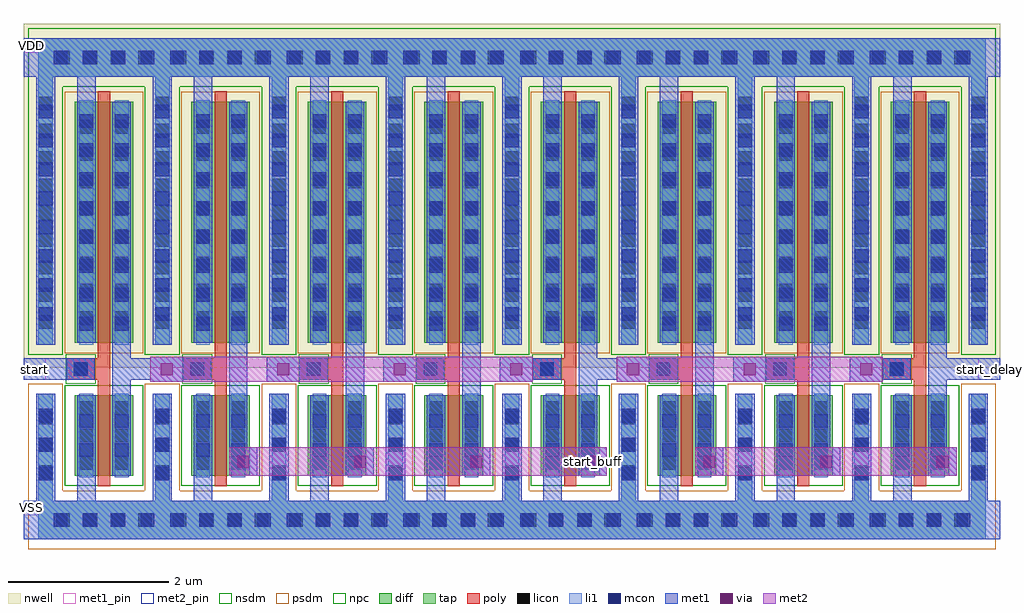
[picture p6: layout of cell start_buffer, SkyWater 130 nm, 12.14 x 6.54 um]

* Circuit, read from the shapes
.subckt start_buffer VDD VSS start start_buff start_delay
XM1 n1 start VSS VSS sky130_fd_pr__nfet_01v8 w=1 l=0.15
XM2 start_buff n1 VSS VSS sky130_fd_pr__nfet_01v8 w=1 l=0.15 m=4
XM3 start_delay start_buff VSS VSS sky130_fd_pr__nfet_01v8 w=1 l=0.15 m=3
XM4 n1 start VDD VDD sky130_fd_pr__pfet_01v8 w=3 l=0.15
XM5 start_buff n1 VDD VDD sky130_fd_pr__pfet_01v8 w=3 l=0.15 m=4
XM6 start_delay start_buff VDD VDD sky130_fd_pr__pfet_01v8 w=3 l=0.15 m=3
.ends

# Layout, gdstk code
import gdstk
lib = gdstk.Library(unit=1e-6, precision=1e-09)
def R(c, l, rs):  # rectangles x0, y0, x1, y1
    for r in rs: c.add(gdstk.rectangle(r[:2], r[2:], *l))
def A(c, l, x, y, w, h, nx, ny, dx, dy):  # array of equal rectangles
    R(c, l, [(x+i*dx, y+j*dy, x+i*dx+w, y+j*dy+h) for i in range(nx) for j in range(ny)])
nwell = (64, 20)
diff = (65, 20)
tap = (65, 44)
poly = (66, 20)
licon = (66, 44)
li1 = (67, 20)
mcon = (67, 44)
met1_pin = (68, 16)
met1 = (68, 20)
via = (68, 44)
met2_pin = (69, 16)
met2 = (69, 20)
nsdm = (93, 44)
psdm = (94, 20)
npc = (95, 20)

sky130_fd_pr__pfet_01v8_ = lib.new_cell('sky130_fd_pr__pfet_01v8_2K9SAN')
R(sky130_fd_pr__pfet_01v8_, nwell, [(-0.545,-1.81,0.545,1.81)])
R(sky130_fd_pr__pfet_01v8_, diff, [(-0.365,-1.5,0.365,1.5)])
R(sky130_fd_pr__pfet_01v8_, poly, [(-0.075,-1.63,0.075,1.63)])
A(sky130_fd_pr__pfet_01v8_, licon, -0.305, -1.275, 0.17, 0.17, 1, 8, 0, 0.34)
A(sky130_fd_pr__pfet_01v8_, licon, 0.135, -1.275, 0.17, 0.17, 1, 8, 0, 0.34)
R(sky130_fd_pr__pfet_01v8_, li1, [(-0.305,-1.52,-0.135,1.52), (0.135,-1.52,0.305,1.52)])
A(sky130_fd_pr__pfet_01v8_, mcon, -0.305, -1.345, 0.17, 0.17, 1, 8, 0, 0.36)
A(sky130_fd_pr__pfet_01v8_, mcon, 0.135, -1.345, 0.17, 0.17, 1, 8, 0, 0.36)
R(sky130_fd_pr__pfet_01v8_, met1, [(-0.335,-1.5,-0.105,1.5), (0.105,-1.5,0.335,1.5)])
R(sky130_fd_pr__pfet_01v8_, psdm, [(-0.49,-1.625,0.49,1.625)])

sky130_fd_pr__nfet_01v8_ = lib.new_cell('sky130_fd_pr__nfet_01v8_6H9P4D')
R(sky130_fd_pr__nfet_01v8_, diff, [(-0.365,-0.5,0.365,0.5)])
R(sky130_fd_pr__nfet_01v8_, poly, [(-0.075,-0.63,0.075,0.63)])
A(sky130_fd_pr__nfet_01v8_, licon, -0.305, -0.425, 0.17, 0.17, 1, 3, 0, 0.34)
A(sky130_fd_pr__nfet_01v8_, licon, 0.135, -0.425, 0.17, 0.17, 1, 3, 0, 0.34)
R(sky130_fd_pr__nfet_01v8_, li1, [(-0.305,-0.52,-0.135,0.52), (0.135,-0.52,0.305,0.52)])
R(sky130_fd_pr__nfet_01v8_, mcon, [(-0.305,-0.265,-0.135,-0.095), (0.135,-0.265,0.305,-0.095), (-0.305,0.095,-0.135,0.265), (0.135,0.095,0.305,0.265)])
R(sky130_fd_pr__nfet_01v8_, met1, [(-0.335,-0.5,-0.105,0.5), (0.105,-0.5,0.335,0.5)])
R(sky130_fd_pr__nfet_01v8_, nsdm, [(-0.49,-0.625,0.49,0.625)])

inverter_3_1 = lib.new_cell('inverter_3_1')
R(inverter_3_1, nwell, [(0.15,1.15,0.6,4.77), (1.69,1.15,2.14,1.44), (1.64,1.44,2.14,4.48), (1.69,4.48,2.14,4.77), (0.15,4.77,2.14,5.43)])
R(inverter_3_1, tap, [(0.33,-0.98,1.96,-0.5), (0.33,-0.5,0.51,0.83), (1.78,-0.5,1.96,0.83), (0.33,1.44,0.51,4.77), (1.78,1.44,1.96,4.77), (0.33,4.77,1.96,5.25)])
R(inverter_3_1, poly, [(1.07,0.94,1.22,1), (0.68,1,1.22,1.27), (1.07,1.27,1.22,1.33)])
A(inverter_3_1, licon, 0.55, -0.825, 0.17, 0.17, 4, 2, 0.34, 5.75)
A(inverter_3_1, licon, 0.335, -0.23, 0.17, 0.17, 1, 3, 0, 0.34)
A(inverter_3_1, licon, 1.785, -0.23, 0.17, 0.17, 1, 3, 0, 0.34)
A(inverter_3_1, licon, 0.335, 1.635, 0.17, 0.17, 1, 9, 0, 0.34)
A(inverter_3_1, licon, 1.785, 1.635, 0.17, 0.17, 1, 9, 0, 0.34)
R(inverter_3_1, licon, [(0.77,1.05,0.94,1.22)])
R(inverter_3_1, li1, [(0.33,-0.98,1.96,-0.5), (0.33,-0.5,0.51,0.83), (1.78,-0.5,1.96,0.83), (0.68,1,1.03,1.27), (0.33,1.44,0.51,4.77), (1.78,1.44,1.96,4.77), (0.33,4.77,1.96,5.25)])
A(inverter_3_1, mcon, 0.52, -0.825, 0.17, 0.17, 4, 2, 0.36, 5.75)
A(inverter_3_1, mcon, 0.335, -0.25, 0.17, 0.17, 1, 3, 0, 0.36)
A(inverter_3_1, mcon, 1.785, -0.25, 0.17, 0.17, 1, 3, 0, 0.36)
A(inverter_3_1, mcon, 0.335, 1.735, 0.17, 0.17, 1, 8, 0, 0.36)
A(inverter_3_1, mcon, 1.785, 1.735, 0.17, 0.17, 1, 8, 0, 0.36)
R(inverter_3_1, mcon, [(0.77,1.05,0.94,1.22)])
R(inverter_3_1, met1, [(0.15,-0.98,2.14,-0.5), (0.3,-0.5,0.54,0.83), (0.81,-0.5,1.04,-0.19), (1.75,-0.5,1.99,0.83), (1.25,0.81,1.48,1.46), (0.68,1,1.03,1.27), (0.3,1.44,0.54,4.77), (1.75,1.44,1.99,4.77), (0.81,4.46,1.04,4.77), (0.15,4.77,2.14,5.25)])
R(inverter_3_1, nsdm, [(0.205,1.315,0.635,4.645), (1.655,1.315,2.085,4.645), (0.205,4.645,2.085,5.375)])
R(inverter_3_1, psdm, [(0.205,-1.105,2.085,-0.375), (0.205,-0.375,0.635,0.955), (1.655,-0.375,2.085,0.955)])
R(inverter_3_1, npc, [(0.67,0.95,1.04,1.32)])
inverter_3_1.add(gdstk.Reference(sky130_fd_pr__pfet_01v8_, (1.145,2.96)))
inverter_3_1.add(gdstk.Reference(sky130_fd_pr__nfet_01v8_, (1.145,0.31)))

inverter_3_1x4 = lib.new_cell('inverter_3_1x4')
inverter_3_1x4.add(gdstk.Reference(inverter_3_1, (4.37,1.1)))
inverter_3_1x4.add(gdstk.Reference(inverter_3_1, (2.92,1.1)))
inverter_3_1x4.add(gdstk.Reference(inverter_3_1, (1.47,1.1)))
inverter_3_1x4.add(gdstk.Reference(inverter_3_1, (0.02,1.1)))

start_buffer = lib.new_cell('start_buffer')
R(start_buffer, met1_pin, [(0,0.3,0.18,0.48), (0,1.98,0.27,2.25), (11.87,1.98,12.14,2.25), (0,6.05,0.18,6.23)])
A(start_buffer, met1, 2.55, 0.79, 0.35, 0.35, 7, 1, 1.45, 0)
A(start_buffer, met1, 3.02, 1.96, 0.41, 0.31, 3, 1, 1.45, 0)
R(start_buffer, met1, [(0,0.3,0.18,0.48), (1.57,1.96,1.98,1.98), (7.37,1.96,7.78,1.98), (8.82,1.96,9.23,2.27), (10.27,1.96,10.68,2.27), (0,1.98,0.53,2.25), (1.33,1.98,1.98,2.25), (7.13,1.98,7.78,2.25), (11.48,1.98,12.14,2.25), (1.57,2.25,1.98,2.27), (7.37,2.25,7.78,2.27), (0,6.05,0.18,6.23)])
A(start_buffer, via, 2.65, 0.89, 0.15, 0.15, 7, 1, 1.45, 0)
A(start_buffer, via, 1.7, 2.04, 0.15, 0.15, 7, 1, 1.45, 0)
R(start_buffer, met2_pin, [(6.9,0.79,7.25,1.14)])
R(start_buffer, met2, [(2.55,0.79,7.25,1.14), (8.35,0.79,11.6,1.14), (1.57,1.96,6.33,2.27), (7.37,1.96,10.68,2.27)])
start_buffer.add(gdstk.Reference(inverter_3_1x4, (5.63,-0.12)))
start_buffer.add(gdstk.Reference(inverter_3_1x4, (-0.17,-0.12)))
start_buffer.add(gdstk.Label('start', (0.135,2.115), layer=68, texttype=5))
start_buffer.add(gdstk.Label('start_delay', (12.005,2.115), layer=68, texttype=5))
start_buffer.add(gdstk.Label('start_buff', (7.075,0.965), layer=69, texttype=5))
start_buffer.add(gdstk.Label('VDD', (0.09,6.14), layer=68, texttype=5))
start_buffer.add(gdstk.Label('VSS', (0.09,0.39), layer=68, texttype=5))

lib.write_gds('start_buffer.gds')
